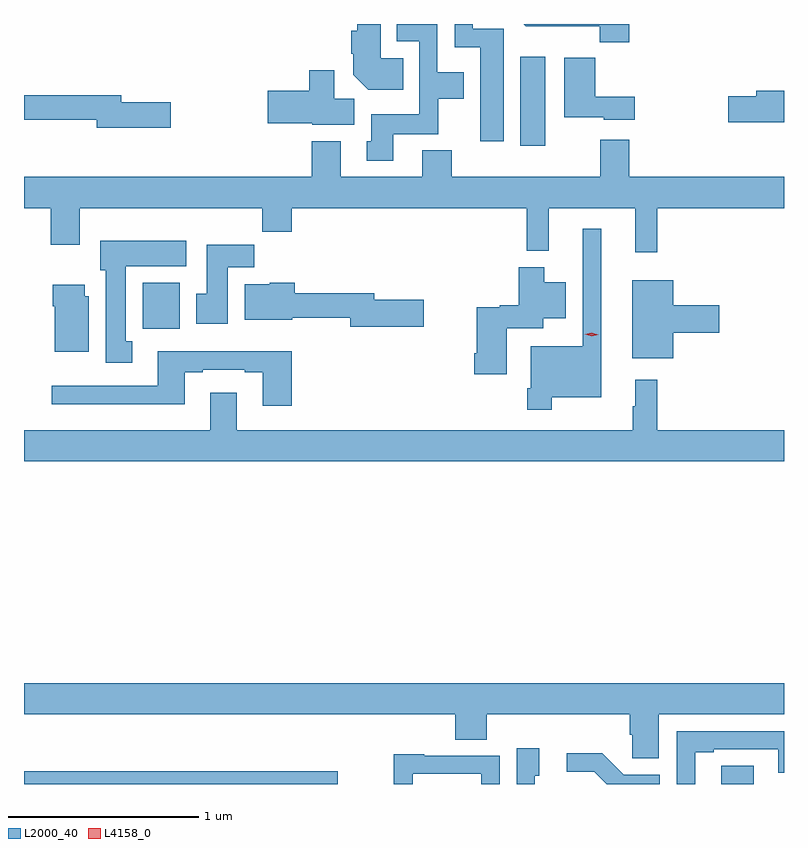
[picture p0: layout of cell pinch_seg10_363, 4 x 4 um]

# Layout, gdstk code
import gdstk
lib = gdstk.Library(unit=1e-6, precision=1e-09)
def R(c, l, rs):  # rectangles x0, y0, x1, y1
    for r in rs: c.add(gdstk.rectangle(r[:2], r[2:], *l))
def P(c, l, *ps):  # polygons
    for p in ps: c.add(gdstk.Polygon(p, *l))
L2000_40 = (2000, 40)
L4158_0 = (4158, 0)

pinch_seg10_363 = lib.new_cell('pinch_seg10_363')
R(pinch_seg10_363, L2000_40, [(553.46,1255.993,555.112,1256.059), (557.13,1255.993,557.3,1256.09), (554.084,1258.388,554.281,1258.63), (556.073,1259.352,556.204,1259.821)])
P(pinch_seg10_363, L2000_40, [(555.985,1259.967),(555.822,1259.967),(555.822,1259.993),(555.726,1259.993),(555.726,1259.87),(555.86,1259.87),(555.86,1259.376),(555.985,1259.376)],
  [(555.455,1259.812),(555.337,1259.812),(555.337,1259.993),(555.215,1259.993),(555.215,1259.958),(555.182,1259.958),(555.182,1259.836),(555.194,1259.836),(555.194,1259.726),(555.272,1259.648),(555.455,1259.648)],
  [(556.646,1259.993),(556.091,1259.993),(556.102,1259.982),(556.491,1259.982),(556.491,1259.897),(556.646,1259.897)],
  [(555.403,1259.414),(555.639,1259.414),(555.639,1259.6),(555.775,1259.6),(555.775,1259.74),(555.636,1259.74),(555.636,1259.993),(555.423,1259.993),(555.423,1259.901),(555.54,1259.901),(555.54,1259.518),(555.287,1259.518),(555.287,1259.376),(555.263,1259.376),(555.263,1259.274),(555.403,1259.274)],
  [(556.675,1259.611),(556.466,1259.611),(556.466,1259.815),(556.304,1259.815),(556.304,1259.501),(556.512,1259.501),(556.512,1259.489),(556.675,1259.489)],
  [(555.199,1259.6),(555.094,1259.6),(555.094,1259.749),(554.96,1259.749),(554.96,1259.642),(554.742,1259.642),(554.742,1259.471),(554.976,1259.471),(554.976,1259.462),(555.199,1259.462)],
  [(557.46,1259.642),(557.315,1259.642),(557.315,1259.612),(557.166,1259.612),(557.166,1259.477),(557.46,1259.477)],
  [(554.233,1259.582),(553.972,1259.582),(553.972,1259.618),(553.46,1259.618),(553.46,1259.49),(553.844,1259.49),(553.844,1259.447),(554.233,1259.447)],
  [(556.793,1259.024),(557.46,1259.024),(557.46,1259.188),(556.646,1259.188),(556.646,1259.383),(556.493,1259.383),(556.493,1259.188),(555.71,1259.188),(555.71,1259.329),(555.557,1259.329),(555.557,1259.188),(555.127,1259.188),(555.127,1259.377),(554.975,1259.377),(554.975,1259.188),(553.46,1259.188),(553.46,1259.024),(553.601,1259.024),(553.601,1258.83),(553.753,1258.83),(553.753,1259.024),(554.713,1259.024),(554.713,1258.9),(554.87,1258.9),(554.87,1259.024),(556.105,1259.024),(556.105,1258.799),(556.223,1258.799),(556.223,1259.024),(556.676,1259.024),(556.676,1258.791),(556.793,1258.791)],
  [(556.237,1258.028),(556.498,1258.028),(556.498,1258.915),(556.401,1258.915),(556.401,1258.297),(556.128,1258.297),(556.128,1258.075),(556.108,1258.075),(556.108,1257.963),(556.237,1257.963)],
  [(554.029,1258.322),(553.996,1258.322),(553.996,1258.718),(554.314,1258.718),(554.314,1258.852),(553.862,1258.852),(553.862,1258.698),(553.889,1258.698),(553.889,1258.209),(554.029,1258.209)],
  [(554.533,1258.712),(554.672,1258.712),(554.672,1258.831),(554.423,1258.831),(554.423,1258.572),(554.366,1258.572),(554.366,1258.416),(554.533,1258.416)],
  [(556,1258.391),(556.192,1258.391),(556.192,1258.445),(556.312,1258.445),(556.312,1258.633),(556.198,1258.633),(556.198,1258.714),(556.064,1258.714),(556.064,1258.514),(555.963,1258.514),(555.963,1258.501),(555.842,1258.501),(555.842,1258.261),(555.83,1258.261),(555.83,1258.149),(556,1258.149)],
  [(556.876,1258.367),(557.119,1258.367),(557.119,1258.514),(556.876,1258.514),(556.876,1258.645),(556.661,1258.645),(556.661,1258.235),(556.876,1258.235)],
  [(555.565,1258.542),(555.304,1258.542),(555.304,1258.576),(554.885,1258.576),(554.885,1258.63),(554.754,1258.63),(554.754,1258.624),(554.621,1258.624),(554.621,1258.436),(554.872,1258.436),(554.872,1258.447),(555.176,1258.447),(555.176,1258.4),(555.565,1258.4)],
  [(553.801,1258.56),(553.78,1258.56),(553.78,1258.621),(553.61,1258.621),(553.61,1258.508),(553.622,1258.508),(553.622,1258.268),(553.801,1258.268)],
  [(554.87,1258.27),(554.165,1258.27),(554.165,1258.089),(553.605,1258.089),(553.605,1257.992),(554.305,1257.992),(554.305,1258.161),(554.401,1258.161),(554.401,1258.173),(554.621,1258.173),(554.621,1258.161),(554.717,1258.161),(554.717,1257.984),(554.87,1257.984)],
  [(557.46,1257.856),(556.793,1257.856),(556.793,1258.12),(556.676,1258.12),(556.676,1257.98),(556.665,1257.98),(556.665,1257.856),(554.581,1257.856),(554.581,1258.051),(554.441,1258.051),(554.441,1257.856),(553.46,1257.856),(553.46,1257.692),(557.46,1257.692)],
  [(556.801,1256.36),(557.46,1256.36),(557.46,1256.524),(553.46,1256.524),(553.46,1256.36),(555.731,1256.36),(555.731,1256.227),(555.896,1256.227),(555.896,1256.36),(556.649,1256.36),(556.649,1256.251),(556.662,1256.251),(556.662,1256.128),(556.801,1256.128)],
  [(556.993,1256.16),(557.089,1256.16),(557.089,1256.175),(557.43,1256.175),(557.43,1256.052),(557.46,1256.052),(557.46,1256.271),(556.896,1256.271),(556.896,1255.993),(556.993,1255.993)],
  [(556.149,1256.037),(556.171,1256.037),(556.171,1256.182),(556.053,1256.182),(556.053,1255.993),(556.149,1255.993)],
  [(556.806,1256.043),(556.617,1256.043),(556.504,1256.156),(556.317,1256.156),(556.317,1256.058),(556.461,1256.058),(556.526,1255.993),(556.806,1255.993)],
  [(555.507,1256.046),(555.867,1256.046),(555.867,1255.993),(555.963,1255.993),(555.963,1256.142),(555.567,1256.142),(555.567,1256.149),(555.406,1256.149),(555.406,1255.993),(555.507,1255.993)])
P(pinch_seg10_363, L4158_0, [(556.447,1258.349),(556.412,1258.36),(556.412,1258.361),(556.412,1258.361),(556.448,1258.369),(556.483,1258.357),(556.483,1258.357),(556.483,1258.357)])

lib.write_gds('pinch_seg10_363.gds')
